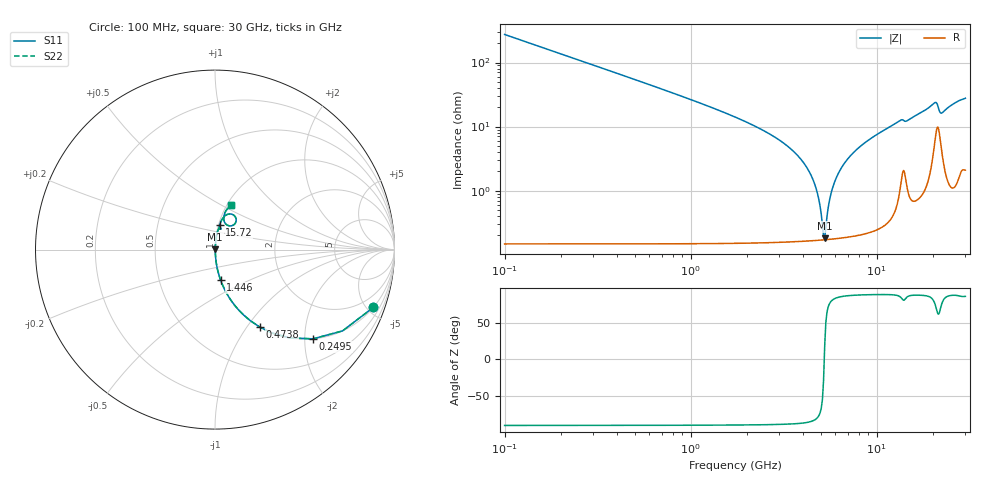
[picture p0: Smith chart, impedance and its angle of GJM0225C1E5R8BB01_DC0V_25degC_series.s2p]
!Murata Part Number: GJM0225C1E5R8BB01
!These Parameters are Measured in Series Mode Connection
!  o--ll--o
!Port1  Port2
!  o------o
!Operation Temp=25[degC], DC Bias Voltage=0[V]
!Freq. Start=100[MHz] Stop=30[GHz], 401[Steps]
!Data Generated on Feb 1, 2023
# Hz S RI R 50
!Freq.(Hz) S11(Real) S11(Imag) S21(Real) S21(Imag) S12(Real) S12(Imag) S22(Real) S22(Imag)
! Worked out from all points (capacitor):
!   401 points, 100 MHz to 30 GHz, reference 50 ohm
!   read as one part in series: C = 5.8 pF near 249.5 MHz
!   lowest |Z| = 180 mohm at 5.258 GHz (marker M1)
!   series resonance near 5.229 GHz, so ESL is about 160 pH
!   S11 on the Smith chart (normalised r, x): 100 MHz: 1.00, -5.49; 249.5 MHz: 1.00, -2.19; 473.8 MHz: 1.00, -1.15; 1.446 GHz: 1.00, -0.35; 15.72 GHz: 1.01, +0.28; 30 GHz: 1.04, +0.55
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1e8  0.8826 -0.3217  0.1174 0.3217  0.1174 0.3217  0.8826 -0.3217
2.495e8  0.5462 -0.4972  0.4538 0.4972  0.4538 0.4972  0.5462 -0.4972
4.7375e8  0.2487 -0.431  0.7513 0.431  0.7513 0.431  0.2487 -0.431
8.475e8  0.0915 -0.286  0.9085 0.286  0.9085 0.286  0.0915 -0.286
1.4455e9  0.0312 -0.1696  0.9688 0.1696  0.9688 0.1696  0.0312 -0.1696
3.46375e9  0.00355 -0.0443  0.9964 0.0443  0.9964 0.0443  0.00355 -0.0443
4.21125e9  0.00215 -0.0229  0.9978 0.0229  0.9978 0.0229  0.00215 -0.0229
4.7345e9  0.00177 -0.0104  0.9982 0.0104  0.9982 0.0104  0.00177 -0.0104
5.10825e9  0.0017 -0.00246  0.9983 0.00246  0.9983 0.00246  0.0017 -0.00246
5.25775e9  0.0017 0.000571  0.9983 -0.000571  0.9983 -0.000571  0.0017 0.000571
5.781e9  0.00186 0.0106  0.9981 -0.0106  0.9981 -0.0106  0.00186 0.0106
6.5285e9  0.00237 0.0236  0.9976 -0.0236  0.9976 -0.0236  0.00237 0.0236
7.94875e9  0.00407 0.0455  0.9959 -0.0455  0.9959 -0.0455  0.00407 0.0455
1.01165e10  0.0082 0.0755  0.9918 -0.0755  0.9918 -0.0755  0.0082 0.0755
1.333075e10  0.0245 0.1193  0.9755 -0.1193  0.9755 -0.1193  0.0245 0.1193
1.505e10  0.0242 0.1264  0.9758 -0.1264  0.9758 -0.1264  0.0242 0.1264
1.572275e10  0.0259 0.1366  0.9741 -0.1366  0.9741 -0.1366  0.0259 0.1366
2.005825e10  0.0752 0.1979  0.9248 -0.1979  0.9248 -0.1979  0.0752 0.1979
2.08805e10  0.1127 0.183  0.8873 -0.183  0.8873 -0.183  0.1127 0.183
2.215125e10  0.0692 0.1359  0.9308 -0.1359  0.9308 -0.1359  0.0692 0.1359
2.50665e10  0.0531 0.1992  0.9469 -0.1992  0.9469 -0.1992  0.0531 0.1992
3e10  0.0874 0.2473  0.9126 -0.2473  0.9126 -0.2473  0.0874 0.2473
